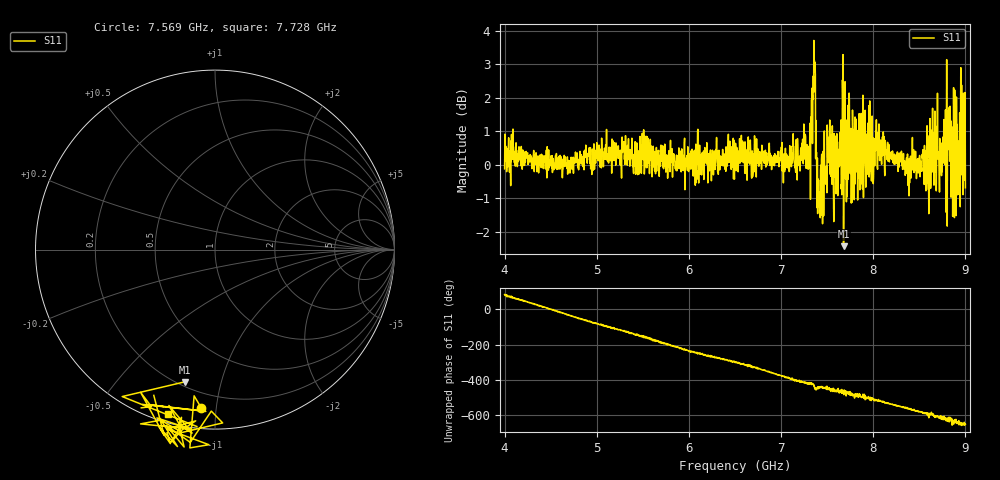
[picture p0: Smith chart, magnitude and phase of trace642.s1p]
! Created with skrf 1.8.0 (http://scikit-rf.org).
# Hz S RI R 50.0
!freq ReS11 ImS11
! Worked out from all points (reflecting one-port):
!   1601 points, 4 GHz to 9 GHz, reference 50 ohm
!   lowest |S11| = -2.4 dB at 7.678 GHz (marker M1), VSWR 7.20, Z = 11.2 - j38.6 ohm
!   phase of S11 starts at 83 deg and turns -733 deg over the sweep
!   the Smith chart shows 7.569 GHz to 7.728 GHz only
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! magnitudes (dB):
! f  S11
! 4 GHz  -0.1
! 4.1 GHz  0.2
! 4.625 GHz  -0.4
! 5.25 GHz  0.3
! 5.875 GHz  -0.1
! 6.5 GHz  0.1
! 7.125 GHz  0.2
! 7.294 GHz  -0.1
! 7.316 GHz  1.1
! 7.347 GHz  2.0
! 7.369 GHz  3.1
! 7.4 GHz  -0.4
! 7.409 GHz  -1.2
! 7.525 GHz  0.6
! 7.594 GHz  0.0
! 7.678 GHz  -2.4
! 7.703 GHz  0.0
! 7.75 GHz  -0.3
! 7.775 GHz  1.6
! 8.044 GHz  -0.1
! 8.375 GHz  0.2
! 8.588 GHz  0.2
! 8.688 GHz  0.4
! 8.728 GHz  -0.1
! 8.819 GHz  1.2
! 8.875 GHz  0.7
! 8.972 GHz  0.7
! 9 GHz  -0.7
